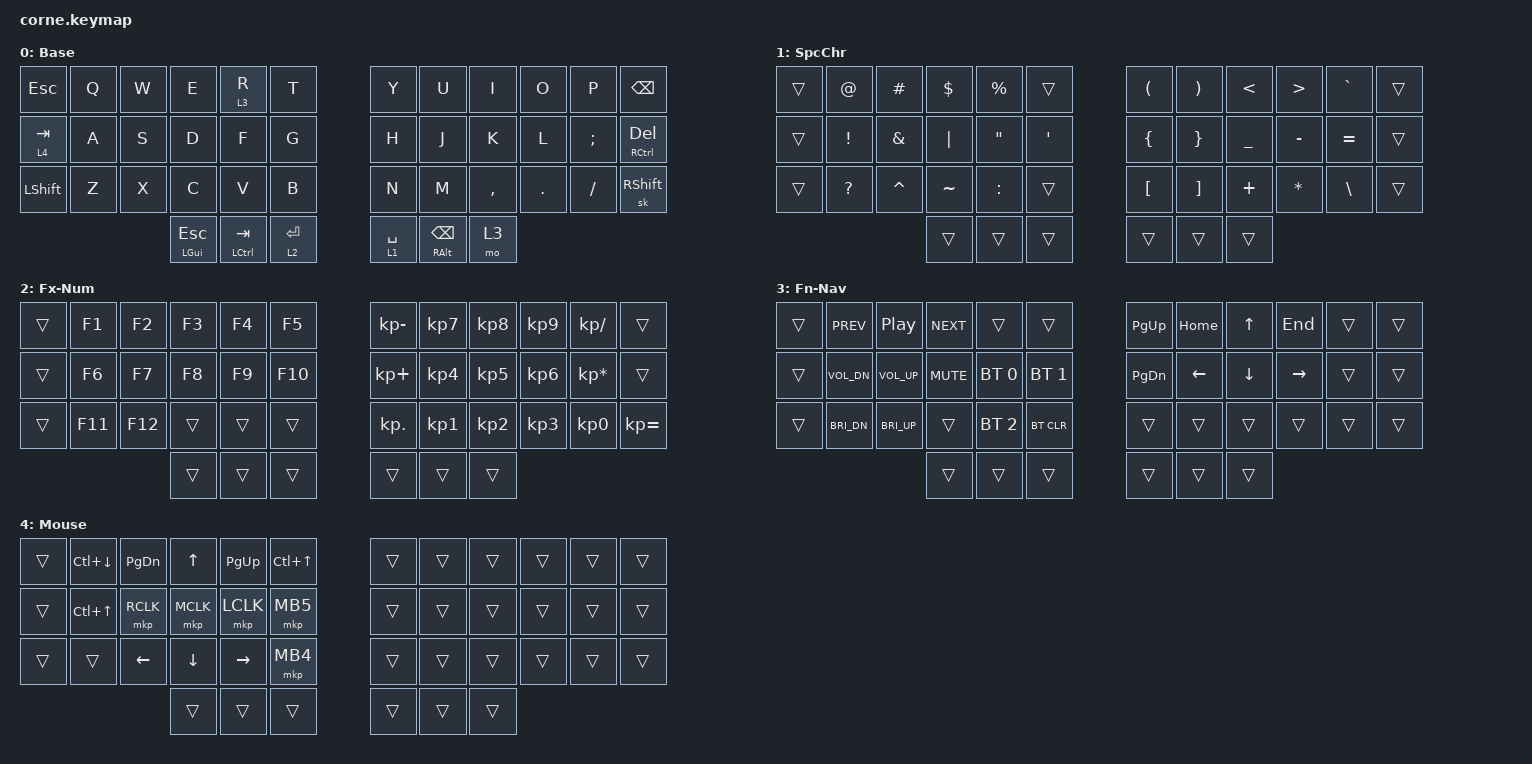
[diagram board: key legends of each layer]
/*
 * Copyright (c) 2020 The ZMK Contributors
 *
 * SPDX-License-Identifier: MIT
 */

#include <dt-bindings/zmk/modifiers.h>
#include <behaviors.dtsi>
#include <dt-bindings/zmk/bt.h>
#include <dt-bindings/zmk/keys.h>
#include <dt-bindings/zmk/pointing.h>

/ {
    combos {
        compatible = "zmk,combos";

        combo_opening_parenthesis {
            timeout-ms = <50>;
            key-positions = <15 16>;
            bindings = <&kp LPAR>;
        };

        combo_closing_parenthesis {
            timeout-ms = <50>;
            key-positions = <19 20>;
            bindings = <&kp RPAR>;
        };

        combo_opening_curly_brace {
            timeout-ms = <50>;
            key-positions = <14 15>;
            bindings = <&kp LBRC>;
        };

        combo_closing_curly_brace {
            timeout-ms = <50>;
            key-positions = <20 21>;
            bindings = <&kp RBRC>;
        };

        combo_opening_square_bracket {
            timeout-ms = <50>;
            key-positions = <13 14>;
            bindings = <&kp LBKT>;
        };

        combo_closing_square_bracket {
            timeout-ms = <50>;
            key-positions = <21 22>;
            bindings = <&kp RBKT>;
        };

        combo_opening_angle_bracket {
            timeout-ms = <50>;
            key-positions = <3 4>;
            bindings = <&kp LT>;
        };

        combo_closing_angle_bracket {
            timeout-ms = <50>;
            key-positions = <7 8>;
            bindings = <&kp GT>;
        };

        combo_equal {
            timeout-ms = <50>;
            key-positions = <8 9>;
            bindings = <&kp EQUAL>;
        };

        combo_underscore {
            timeout-ms = <50>;
            key-positions = <32 33>;
            bindings = <&kp UNDER>;
        };

        combo_minus {
            timeout-ms = <50>;
            key-positions = <31 32>;
            bindings = <&kp MINUS>;
        };

        combo_cut_mac {
            timeout-ms = <50>;
            key-positions = <25 26>;
            bindings = <&kp LG(X)>;
        };

        combo_copy_mac {
            timeout-ms = <50>;
            key-positions = <26 27>;
            bindings = <&kp LG(C)>;
        };

        combo_paste_mac {
            timeout-ms = <50>;
            key-positions = <27 28>;
            bindings = <&kp LG(V)>;
        };

        combo_undo_mac {
            timeout-ms = <50>;
            key-positions = <29 28>;
            bindings = <&kp LG(Z)>;
        };

        combo_redo_mac {
            timeout-ms = <50>;
            key-positions = <30 31>;
            bindings = <&kp LG(LS(Z))>;
        };

        combo_caps_word {
            timeout-ms = <50>;
            key-positions = <17 18>;
            bindings = <&caps_word>;
        };

        combo_single_quote {
            timeout-ms = <50>;
            bindings = <&kp SQT>;
            key-positions = <34 33>;
        };

        toggle_mouse {
            bindings = <&tog 4>;
            key-positions = <38 0>;
        };

        soft_off_corne {
            bindings = <&soft_off_keyb>;
            key-positions = <0 5>;
        };
    };

    behaviors {
        lh_kp_pht: lh_kp_pht {
            compatible = "zmk,behavior-hold-tap";
            label = "LEFT_POSITIONAL_KP_HOLD_TAP";
            bindings = <&kp>, <&kp>;

            #binding-cells = <2>;
            hold-trigger-key-positions = <6 7 8 9 10 18 19 20 21 22 30 31 32 33 34>;
            tapping-term-ms = <100>;
            quick-tap-ms = <200>;
            flavor = "tap-unless-interrupted";
        };

        rh_kp_pht: rh_kp_pht {
            compatible = "zmk,behavior-hold-tap";
            label = "RIGHT_POSITIONAL_KP_HOLD_TAP";
            bindings = <&kp>, <&kp>;

            #binding-cells = <2>;
            tapping-term-ms = <100>;
            quick-tap-ms = <200>;
            flavor = "tap-unless-interrupted";
            hold-trigger-key-positions = <1 2 3 4 13 14 15 16 25 26 27 28 5 17 29>;
        };

        lh_lt_pht: lh_lt_pht {
            compatible = "zmk,behavior-hold-tap";
            label = "LEFT_POSITIONAL_LT_HOLD_TAP";
            bindings = <&mo>, <&kp>;

            #binding-cells = <2>;
            hold-trigger-key-positions = <6 7 8 9 10 18 19 20 21 22 30 31 32 33 34>;
            tapping-term-ms = <100>;
            quick-tap-ms = <200>;
            flavor = "tap-unless-interrupted";
        };

        rh_lt_pht: rh_lt_pht {
            compatible = "zmk,behavior-hold-tap";
            label = "RIGHT_POSITIONAL_LT_HOLD_TAP";
            bindings = <&mo>, <&kp>;

            #binding-cells = <2>;
            tapping-term-ms = <100>;
            quick-tap-ms = <200>;
            flavor = "tap-unless-interrupted";
            hold-trigger-key-positions = <1 2 3 4 13 14 15 16 25 26 27 28 5 17 29>;
        };

        soft_off_keyb: soft_off_keyb {
            compatible = "zmk,behavior-soft-off";
            label = "SOFT_OFF_KEYB";
            #binding-cells = <0>;
            hold-time-ms = <1000>;
            split-peripheral-off-on-press;
        };
    };

    keymap {
        compatible = "zmk,keymap";

        default_layer {
            label = "Base";
            bindings = <
&kp ESC    &kp Q  &kp W  &kp E         &lt 3 R        &kp T        &kp Y        &kp U          &kp I      &kp O    &kp P     &kp BSPC
&lt 4 TAB  &kp A  &kp S  &kp D         &kp F          &kp G        &kp H        &kp J          &kp K      &kp L    &kp SEMI  &mt RCTRL DEL
&kp LSHFT  &kp Z  &kp X  &kp C         &kp V          &kp B        &kp N        &kp M          &kp COMMA  &kp DOT  &kp FSLH  &sk RSHFT
                         &mt LGUI ESC  &mt LCTRL TAB  &lt 2 RET    &lt 1 SPACE  &mt RALT BSPC  &mo 3
            >;
        };

        special_chars_layer {
            label = "SpcChr";
            bindings = <
&trans  &kp AT     &kp HASH   &kp DOLLAR  &kp PRCNT  &trans     &kp LPAR  &kp RPAR  &kp LT     &kp GT     &kp GRAVE  &trans
&trans  &kp EXCL   &kp AMPS   &kp PIPE    &kp DQT    &kp SQT    &kp LBRC  &kp RBRC  &kp UNDER  &kp MINUS  &kp EQUAL  &trans
&trans  &kp QMARK  &kp CARET  &kp TILDE   &kp COLON  &trans     &kp LBKT  &kp RBKT  &kp PLUS   &kp STAR   &kp BSLH   &trans
                              &trans      &trans     &trans     &trans    &trans    &trans
            >;
        };

        f_and_numpad_layer {
            label = "Fx-Num";
            bindings = <
&trans  &kp F1   &kp F2   &kp F3  &kp F4  &kp F5     &kp KP_MINUS  &kp KP_N7  &kp KP_N8  &kp KP_N9  &kp KP_DIVIDE    &trans
&trans  &kp F6   &kp F7   &kp F8  &kp F9  &kp F10    &kp KP_PLUS   &kp KP_N4  &kp KP_N5  &kp KP_N6  &kp KP_MULTIPLY  &trans
&trans  &kp F11  &kp F12  &trans  &trans  &trans     &kp KP_DOT    &kp KP_N1  &kp KP_N2  &kp KP_N3  &kp KP_N0        &kp KP_EQUAL
                          &trans  &trans  &trans     &trans        &trans     &trans
            >;
        };

        func_bt_and_nav_layer {
            label = "Fn-Nav";
            bindings = <
&trans  &kp C_PREV    &kp C_PP      &kp C_NEXT  &trans        &trans          &kp PG_UP  &kp HOME  &kp UP    &kp END    &trans  &trans
&trans  &kp C_VOL_DN  &kp C_VOL_UP  &kp C_MUTE  &bt BT_SEL 0  &bt BT_SEL 1    &kp PG_DN  &kp LEFT  &kp DOWN  &kp RIGHT  &trans  &trans
&trans  &kp C_BRI_DN  &kp C_BRI_UP  &trans      &bt BT_SEL 2  &bt BT_CLR      &trans     &trans    &trans    &trans     &trans  &trans
                                    &trans      &trans        &trans          &trans     &trans    &trans
            >;
        };

        mouse {
            label = "Mouse";
            bindings = <
&trans  &kp LC(DOWN)      &kp PAGE_DOWN   &kp UP_ARROW    &kp PAGE_UP      &kp LC(UP_ARROW)    &trans  &trans  &trans  &trans  &trans  &trans
&trans  &kp LC(UP_ARROW)  &mkp RCLK       &mkp MCLK       &mkp LCLK        &mkp MB5            &trans  &trans  &trans  &trans  &trans  &trans
&trans  &trans            &kp LEFT_ARROW  &kp DOWN_ARROW  &kp RIGHT_ARROW  &mkp MB4            &trans  &trans  &trans  &trans  &trans  &trans
                                          &trans          &trans           &trans              &trans  &trans  &trans
            >;
        };
    };
};
